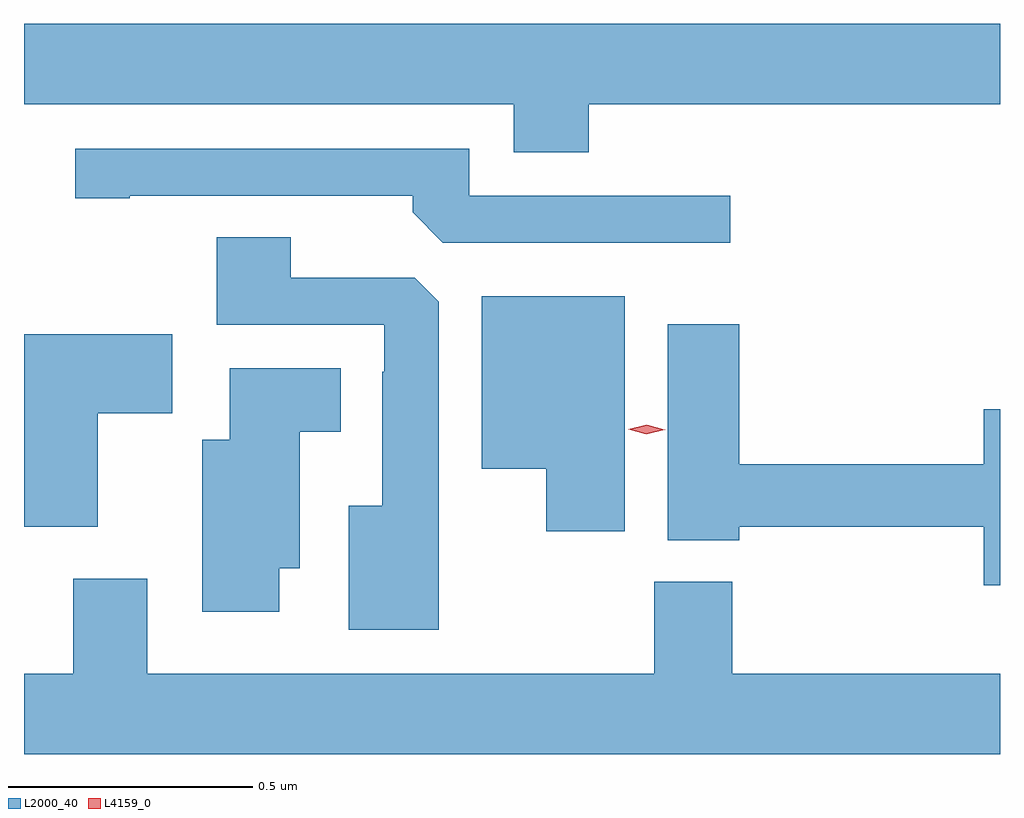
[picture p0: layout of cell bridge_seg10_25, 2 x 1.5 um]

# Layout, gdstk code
import gdstk
lib = gdstk.Library(unit=1e-6, precision=1e-09)
def P(c, l, *ps):  # polygons
    for p in ps: c.add(gdstk.Polygon(p, *l))
L2000_40 = (2000, 40)
L4159_0 = (4159, 0)

bridge_seg10_25 = lib.new_cell('bridge_seg10_25')
P(bridge_seg10_25, L2000_40, [(958.616,1264.352),(959.459,1264.352),(959.459,1264.516),(957.459,1264.516),(957.459,1264.352),(958.463,1264.352),(958.463,1264.253),(958.616,1264.253)],
  [(958.906,1264.164),(958.371,1264.164),(958.371,1264.26),(957.564,1264.26),(957.564,1264.159),(957.676,1264.159),(957.676,1264.164),(958.256,1264.164),(958.256,1264.13),(958.317,1264.068),(958.906,1264.068)],
  [(958.309,1263.947),(958.26,1263.996),(958.006,1263.996),(958.006,1264.079),(957.854,1264.079),(957.854,1263.9),(958.197,1263.9),(958.197,1263.803),(958.193,1263.803),(958.193,1263.529),(958.124,1263.529),(958.124,1263.275),(958.309,1263.275)],
  [(958.69,1263.958),(958.397,1263.958),(958.397,1263.605),(958.529,1263.605),(958.529,1263.477),(958.69,1263.477)],
  [(959.459,1263.727),(959.426,1263.727),(959.426,1263.614),(958.925,1263.614),(958.925,1263.901),(958.778,1263.901),(958.778,1263.458),(958.925,1263.458),(958.925,1263.486),(959.426,1263.486),(959.426,1263.366),(959.459,1263.366)],
  [(957.61,1263.718),(957.763,1263.718),(957.763,1263.88),(957.459,1263.88),(957.459,1263.486),(957.61,1263.486)],
  [(957.982,1263.401),(958.024,1263.401),(958.024,1263.68),(958.108,1263.68),(958.108,1263.811),(957.881,1263.811),(957.881,1263.664),(957.824,1263.664),(957.824,1263.312),(957.982,1263.312)],
  [(959.459,1263.184),(958.91,1263.184),(958.91,1263.373),(958.75,1263.373),(958.75,1263.184),(957.712,1263.184),(957.712,1263.379),(957.56,1263.379),(957.56,1263.184),(957.459,1263.184),(957.459,1263.02),(959.459,1263.02)])
P(bridge_seg10_25, L4159_0, [(958.734,1263.675),(958.697,1263.686),(958.696,1263.686),(958.697,1263.686),(958.735,1263.695),(958.772,1263.684),(958.773,1263.684),(958.772,1263.684)])

lib.write_gds('bridge_seg10_25.gds')
